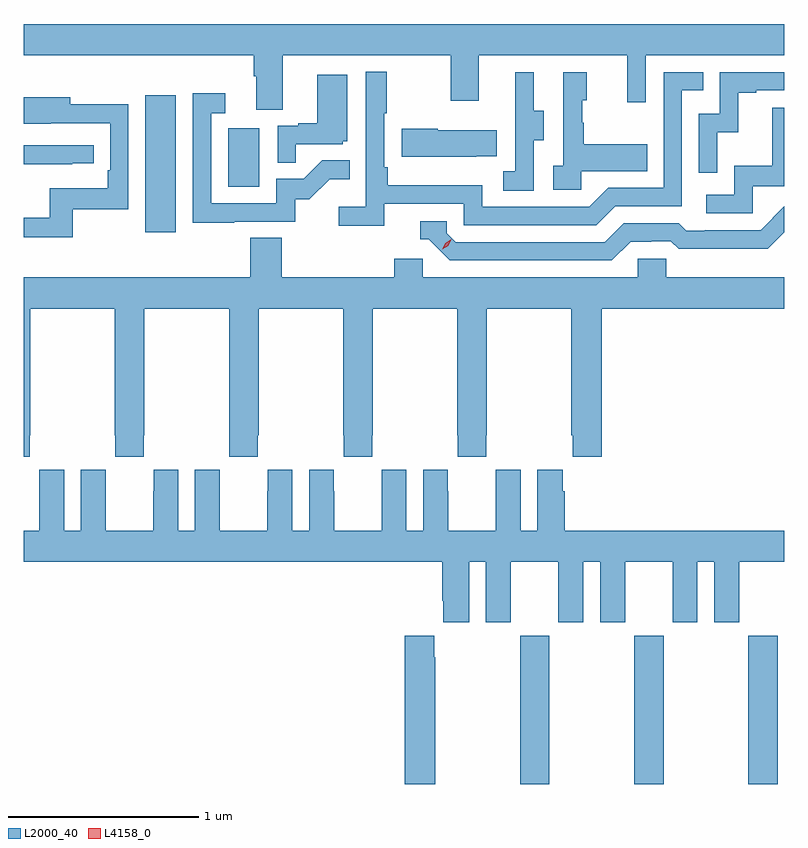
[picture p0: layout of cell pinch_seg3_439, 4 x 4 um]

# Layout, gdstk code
import gdstk
lib = gdstk.Library(unit=1e-6, precision=1e-09)
def R(c, l, rs):  # rectangles x0, y0, x1, y1
    for r in rs: c.add(gdstk.rectangle(r[:2], r[2:], *l))
def A(c, l, x, y, w, h, nx, ny, dx, dy):  # array of equal rectangles
    R(c, l, [(x+i*dx, y+j*dy, x+i*dx+w, y+j*dy+h) for i in range(nx) for j in range(ny)])
def P(c, l, *ps):  # polygons
    for p in ps: c.add(gdstk.Polygon(p, *l))
L2000_40 = (2000, 40)
L4158_0 = (4158, 0)

pinch_seg3_439 = lib.new_cell('pinch_seg3_439')
A(pinch_seg3_439, L2000_40, 950.737, 674.44, 0.155, 0.78, 3, 1, 0.6, 0)
R(pinch_seg3_439, L2000_40, [(948.767,677.34,948.928,678.061), (949.202,677.58,949.366,677.887)])
P(pinch_seg3_439, L2000_40, [(949.489,678.272),(950.374,678.272),(950.374,678.033),(950.521,678.033),(950.521,678.272),(951.302,678.272),(951.302,678.024),(951.399,678.024),(951.399,678.272),(952.127,678.272),(952.127,678.436),(948.127,678.436),(948.127,678.272),(949.337,678.272),(949.337,678.16),(949.349,678.16),(949.349,677.986),(949.489,677.986)],
  [(950.024,677.49),(950.442,677.49),(950.442,677.379),(951.139,677.379),(951.238,677.478),(951.588,677.478),(951.588,678.087),(951.701,678.087),(951.701,678.183),(951.492,678.183),(951.492,677.574),(951.201,677.574),(951.102,677.475),(950.538,677.475),(950.538,677.587),(950.042,677.587),(950.042,677.683),(950.022,677.683),(950.022,677.968),(950.035,677.968),(950.035,678.184),(949.926,678.184),(949.926,677.476),(949.785,677.476),(949.785,677.374),(950.024,677.374)],
  [(951.774,677.867),(951.884,677.867),(951.884,678.075),(951.979,678.075),(951.979,678.087),(952.127,678.087),(952.127,678.183),(951.786,678.183),(951.786,677.964),(951.678,677.964),(951.678,677.655),(951.774,677.655)],
  [(950.808,677.824),(950.863,677.824),(950.863,677.979),(950.809,677.979),(950.809,678.181),(950.711,678.181),(950.711,677.967),(950.712,677.967),(950.712,677.663),(950.649,677.663),(950.649,677.56),(950.808,677.56)],
  [(951.06,677.663),(951.407,677.663),(951.407,677.803),(951.073,677.803),(951.073,677.918),(951.063,677.918),(951.063,678.036),(951.088,678.036),(951.088,678.181),(950.964,678.181),(950.964,677.69),(950.913,677.69),(950.913,677.565),(951.06,677.565)],
  [(949.559,677.805),(949.806,677.805),(949.806,677.82),(949.828,677.82),(949.828,678.169),(949.67,678.169),(949.67,677.914),(949.571,677.914),(949.571,677.901),(949.464,677.901),(949.464,677.707),(949.559,677.707)],
  [(949.235,677.397),(949.554,677.397),(949.554,677.514),(949.63,677.514),(949.737,677.621),(949.841,677.621),(949.841,677.72),(949.697,677.72),(949.599,677.622),(949.455,677.622),(949.455,677.493),(949.113,677.493),(949.113,677.967),(949.186,677.967),(949.186,678.073),(949.017,678.073),(949.017,677.392),(949.235,677.392)],
  [(948.385,677.463),(948.678,677.463),(948.678,678.014),(948.373,678.014),(948.373,678.052),(948.127,678.052),(948.127,677.912),(948.269,677.912),(948.269,677.913),(948.582,677.913),(948.582,677.668),(948.569,677.668),(948.569,677.572),(948.264,677.572),(948.264,677.417),(948.127,677.417),(948.127,677.316),(948.385,677.316)],
  [(951.96,677.583),(952.127,677.583),(952.127,677.995),(952.063,677.995),(952.063,677.692),(951.864,677.692),(951.864,677.538),(951.717,677.538),(951.717,677.442),(951.96,677.442)],
  [(950.507,677.741),(950.615,677.741),(950.615,677.878),(950.305,677.878),(950.305,677.886),(950.114,677.886),(950.114,677.738),(950.507,677.738)],
  [(948.383,677.703),(948.496,677.703),(948.496,677.799),(948.127,677.799),(948.127,677.698),(948.383,677.698)],
  [(951.319,677.292),(951.426,677.292),(951.426,677.295),(951.529,677.295),(951.571,677.253),(951.804,677.253),(951.804,677.255),(952.04,677.255),(952.127,677.342),(952.127,677.477),(952.002,677.352),(951.709,677.352),(951.709,677.349),(951.61,677.349),(951.571,677.388),(951.282,677.388),(951.183,677.289),(950.4,677.289),(950.352,677.337),(950.352,677.4),(950.213,677.4),(950.213,677.304),(950.256,677.304),(950.367,677.193),(951.22,677.193)],
  [(948.159,676.273),(948.162,676.273),(948.162,676.94),(948.607,676.94),(948.607,676.273),(948.609,676.273),(948.609,676.161),(948.759,676.161),(948.759,676.273),(948.762,676.273),(948.762,676.94),(949.207,676.94),(949.207,676.273),(949.209,676.273),(949.209,676.161),(949.359,676.161),(949.359,676.273),(949.362,676.273),(949.362,676.94),(949.807,676.94),(949.807,676.273),(949.809,676.273),(949.809,676.161),(949.959,676.161),(949.959,676.273),(949.962,676.273),(949.962,676.94),(950.407,676.94),(950.407,676.273),(950.409,676.273),(950.409,676.161),(950.559,676.161),(950.559,676.273),(950.562,676.273),(950.562,676.94),(951.007,676.94),(951.007,676.273),(951.013,676.273),(951.013,676.161),(951.167,676.161),(951.167,676.94),(952.127,676.94),(952.127,677.104),(951.507,677.104),(951.507,677.202),(951.357,677.202),(951.357,677.104),(950.226,677.104),(950.226,677.202),(950.075,677.202),(950.075,677.104),(949.484,677.104),(949.484,677.312),(949.319,677.312),(949.319,677.104),(948.127,677.104),(948.127,676.161),(948.159,676.161)],
  [(950.47,675.608),(950.558,675.608),(950.558,675.291),(950.689,675.291),(950.689,675.608),(950.939,675.608),(950.939,675.291),(951.07,675.291),(951.07,675.608),(951.158,675.608),(951.158,675.291),(951.289,675.291),(951.289,675.608),(951.539,675.608),(951.539,675.291),(951.67,675.291),(951.67,675.608),(951.758,675.608),(951.758,675.291),(951.889,675.291),(951.889,675.608),(952.127,675.608),(952.127,675.772),(950.972,675.772),(950.972,675.98),(950.962,675.98),(950.962,676.093),(950.828,676.093),(950.828,675.772),(950.74,675.772),(950.74,676.093),(950.61,676.093),(950.61,675.98),(950.609,675.98),(950.609,675.772),(950.359,675.772),(950.359,675.98),(950.358,675.98),(950.358,676.093),(950.228,676.093),(950.228,675.772),(950.14,675.772),(950.14,676.093),(950.01,676.093),(950.01,675.98),(950.009,675.98),(950.009,675.772),(949.759,675.772),(949.759,675.98),(949.758,675.98),(949.758,676.093),(949.628,676.093),(949.628,675.772),(949.54,675.772),(949.54,676.093),(949.41,676.093),(949.41,675.98),(949.409,675.98),(949.409,675.772),(949.159,675.772),(949.159,675.98),(949.158,675.98),(949.158,676.093),(949.028,676.093),(949.028,675.772),(948.94,675.772),(948.94,676.093),(948.81,676.093),(948.81,675.98),(948.809,675.98),(948.809,675.772),(948.559,675.772),(948.559,675.98),(948.558,675.98),(948.558,676.093),(948.428,676.093),(948.428,675.772),(948.34,675.772),(948.34,676.093),(948.21,676.093),(948.21,675.98),(948.209,675.98),(948.209,675.772),(948.127,675.772),(948.127,675.608),(950.327,675.608),(950.327,675.403),(950.333,675.403),(950.333,675.291),(950.47,675.291)],
  [(950.287,675.107),(950.287,675.22),(950.132,675.22),(950.132,674.44),(950.292,674.44),(950.292,675.107)])
P(pinch_seg3_439, L4158_0, [(950.329,677.251),(950.329,677.251),(950.345,677.284),(950.376,677.303),(950.376,677.303),(950.376,677.302),(950.36,677.27),(950.329,677.251)])

lib.write_gds('pinch_seg3_439.gds')
